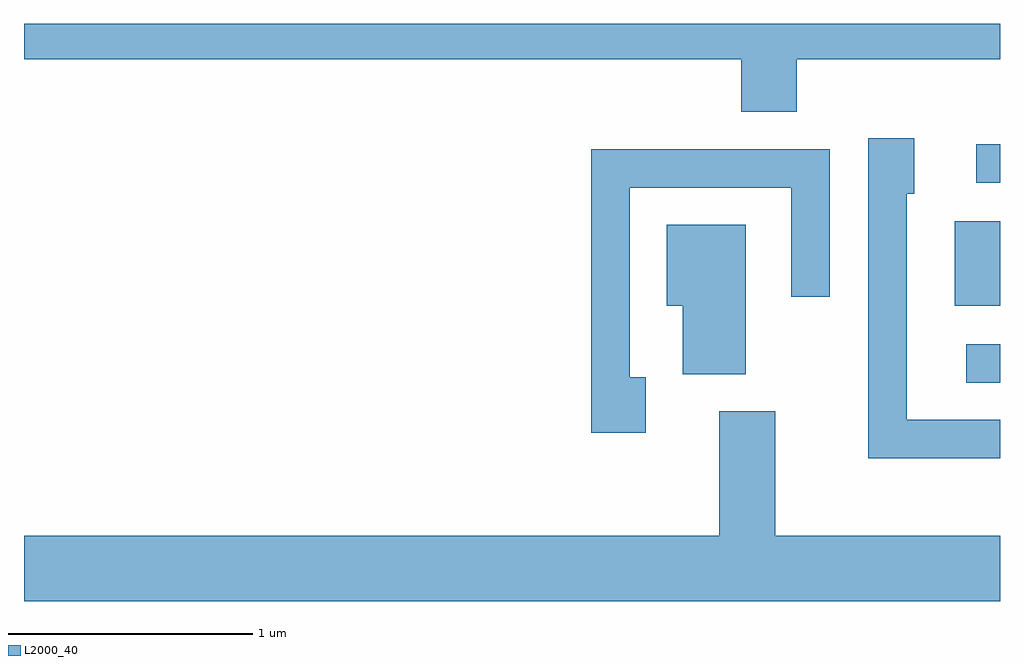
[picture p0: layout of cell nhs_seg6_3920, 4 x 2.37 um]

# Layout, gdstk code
import gdstk
lib = gdstk.Library(unit=1e-6, precision=1e-09)
def R(c, l, rs):  # rectangles x0, y0, x1, y1
    for r in rs: c.add(gdstk.rectangle(r[:2], r[2:], *l))
def P(c, l, *ps):  # polygons
    for p in ps: c.add(gdstk.Polygon(p, *l))
L2000_40 = (2000, 40)

nhs_seg6_3920 = lib.new_cell('nhs_seg6_3920')
R(nhs_seg6_3920, L2000_40, [(307.473,1568.691,307.611,1568.849), (307.426,1569.006,307.611,1569.354), (307.513,1569.511,307.611,1569.669)])
P(nhs_seg6_3920, L2000_40, [(306.779,1570.016),(307.611,1570.016),(307.611,1570.162),(303.611,1570.162),(303.611,1570.016),(306.551,1570.016),(306.551,1569.801),(306.779,1569.801)],
  [(307.611,1568.539),(307.229,1568.539),(307.229,1569.466),(307.259,1569.466),(307.259,1569.694),(307.071,1569.694),(307.071,1568.381),(307.611,1568.381)],
  [(306.159,1568.714),(306.094,1568.714),(306.094,1569.491),(306.756,1569.491),(306.756,1569.043),(306.914,1569.043),(306.914,1569.649),(305.936,1569.649),(305.936,1568.486),(306.159,1568.486)],
  [(306.569,1569.339),(306.246,1569.339),(306.246,1569.006),(306.311,1569.006),(306.311,1568.726),(306.569,1568.726)],
  [(307.611,1568.064),(306.689,1568.064),(306.689,1568.574),(306.461,1568.574),(306.461,1568.064),(303.611,1568.064),(303.611,1567.796),(307.611,1567.796)])

lib.write_gds('nhs_seg6_3920.gds')
